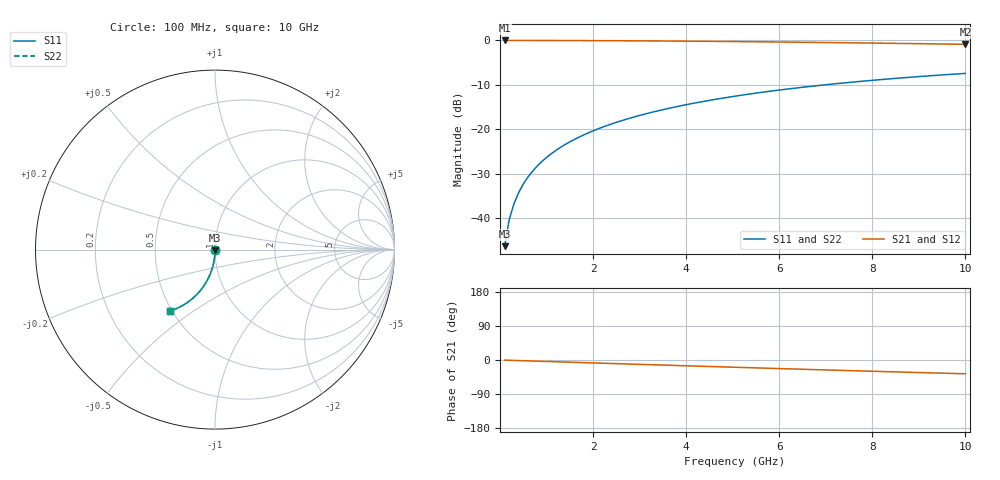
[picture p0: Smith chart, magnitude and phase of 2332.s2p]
# Hz S RI R 50.00
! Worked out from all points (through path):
!   100 points, 100 MHz to 10 GHz, reference 50 ohm
!   highest |S21| = 0.00 dB at 100 MHz (marker M1); lowest = -0.9 dB at 10 GHz (marker M2)
!   group delay of S21, straight-line fit = 10.2 ps
!   lowest |S11| = -46.3 dB at 100 MHz (marker M3), VSWR 1.01, Z = 50 - j0.481 ohm
!   |S11| at or under -10 dB: start of sweep to 6.983 GHz
!   |S22| runs from -46.3 to -7.4 dB; largest |S21 - S12| = 0
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1e8  0.00021 -0.00481  0.9997 -0.0067  0.9997 -0.0067  0.00021 -0.00481
2e8  0.000109 -0.00962  0.9996 -0.0134  0.9996 -0.0134  0.000109 -0.00962
3e8  -5.67e-05 -0.0144  0.9994 -0.0201  0.9994 -0.0201  -5.67e-05 -0.0144
4e8  -0.000287 -0.0192  0.9992 -0.0268  0.9992 -0.0268  -0.000287 -0.0192
5e8  -0.000582 -0.024  0.9989 -0.0335  0.9989 -0.0335  -0.000582 -0.024
6e8  -0.000941 -0.0288  0.9985 -0.0402  0.9985 -0.0402  -0.000941 -0.0288
7e8  -0.00136 -0.0336  0.998 -0.0469  0.998 -0.0469  -0.00136 -0.0336
8e8  -0.00185 -0.0384  0.9975 -0.0536  0.9975 -0.0536  -0.00185 -0.0384
9e8  -0.0024 -0.0432  0.9969 -0.0602  0.9969 -0.0602  -0.0024 -0.0432
1.1e9  -0.0037 -0.0527  0.9956 -0.0736  0.9956 -0.0736  -0.0037 -0.0527
1.4e9  -0.00612 -0.0669  0.993 -0.0935  0.993 -0.0935  -0.00612 -0.0669
1.8e9  -0.0102 -0.0857  0.9887 -0.1198  0.9887 -0.1198  -0.0102 -0.0857
2.1e9  -0.014 -0.0996  0.9847 -0.1394  0.9847 -0.1394  -0.014 -0.0996
2.5e9  -0.0198 -0.1178  0.9786 -0.1652  0.9786 -0.1652  -0.0198 -0.1178
2.9e9  -0.0265 -0.1356  0.9714 -0.1907  0.9714 -0.1907  -0.0265 -0.1356
3.4e9  -0.0362 -0.1573  0.9611 -0.2219  0.9611 -0.2219  -0.0362 -0.1573
4.2e9  -0.0545 -0.1902  0.9417 -0.2702  0.9417 -0.2702  -0.0545 -0.1902
5.1e9  -0.0788 -0.2243  0.9159 -0.3216  0.9159 -0.3216  -0.0788 -0.2243
5.9e9  -0.1031 -0.2517  0.8899 -0.3645  0.8899 -0.3645  -0.1031 -0.2517
6.7e9  -0.1296 -0.276  0.8615 -0.4044  0.8615 -0.4044  -0.1296 -0.276
8.4e9  -0.1912 -0.317  0.795 -0.479  0.795 -0.479  -0.1912 -0.317
1e10  -0.2525 -0.3423  0.7278 -0.5365  0.7278 -0.5365  -0.2525 -0.3423
